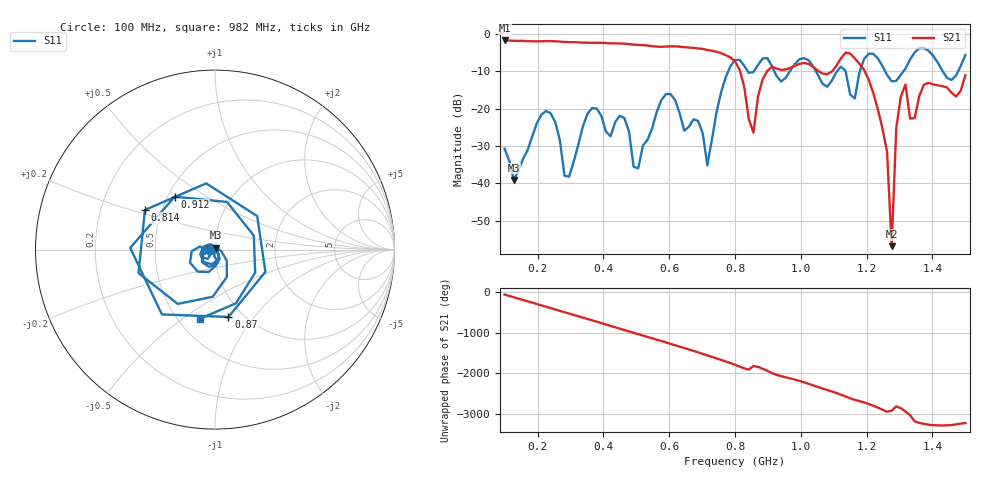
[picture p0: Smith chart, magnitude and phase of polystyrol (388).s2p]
! NanoVNA-App
! Date: 2025-09-25 15:32:54
! Start: 100MHz Stop: 1,5GHz Points: 101
! S-Parameter data: F S11 S21 S12 S22
# Hz S RI R 50
!  Frequency  S11_Real  S11_Imag  S21_Real  S21_Imag  S12_Real  S12_Imag  S22_Real  S22_Imag
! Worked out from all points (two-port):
!   101 points, 100 MHz to 1.5 GHz, reference 50 ohm
!   highest |S21| = -1.80 dB at 100 MHz (marker M1); lowest = -56.7 dB at 1.276 GHz (marker M2)
!   |S21| within 3 dB of the highest: start of sweep to 742.9 MHz
!   lowest |S11| = -39.1 dB at 128 MHz (marker M3), VSWR 1.02, Z = 50.3 + j1.07 ohm
!   |S11| at or under -10 dB: start of sweep to 779.7 MHz; 1.046 GHz to 1.11 GHz (64.55 MHz wide, 5.99 % of centre); 1.256 GHz to 1.312 GHz (55.94 MHz wide, 4.36 % of centre) (the widest 3 of 7)
!   S12 and S22 are empty: the file has one direction only
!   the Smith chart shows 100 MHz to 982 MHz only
!   S11 on the Smith chart (normalised r, x): 100 MHz: 0.94, -0.01; 814 MHz: 0.40, +0.22; 870 MHz: 0.86, -0.75; 912 MHz: 0.54, +0.37; 982 MHz: 0.64, -0.58
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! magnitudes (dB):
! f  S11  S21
! 100 MHz  -30.7  -1.8
! 128 MHz  -39.1  -1.9
! 212 MHz  -21.6  -2.0
! 282 MHz  -37.9  -2.2
! 338 MHz  -24.7  -2.4
! 506 MHz  -35.9  -3.0
! 576 MHz  -17.8  -3.5
! 716 MHz  -35.2  -4.3
! 800 MHz  -7.0  -7.4
! 814 MHz  -7.0  -9.6
! 856 MHz  -10.3  -26.4
! 870 MHz  -8.3  -16.7
! 912 MHz  -8.6  -8.9
! 982 MHz  -8.1  -8.6
! 1.038 GHz  -8.8  -8.9
! 1.164 GHz  -17.3  -6.6
! 1.206 GHz  -5.3  -12.2
! 1.262 GHz  -11.0  -31.5
! 1.276 GHz  -12.7  -56.7
! 1.29 GHz  -12.6  -25.2
! 1.318 GHz  -9.3  -13.6
! 1.5 GHz  -5.7  -11.1
